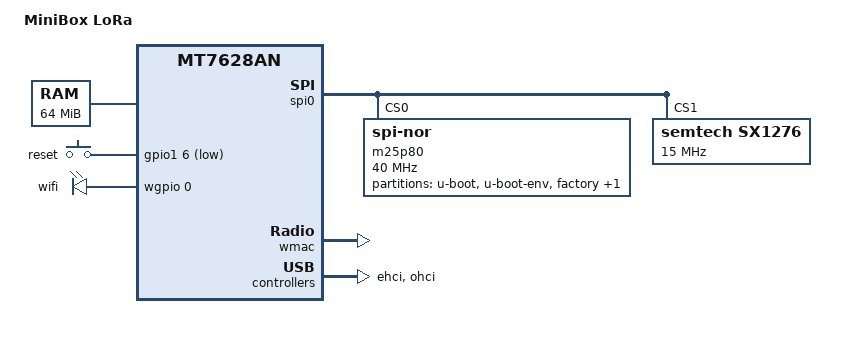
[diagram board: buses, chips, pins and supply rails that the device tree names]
/dts-v1/;

#include "mt7628an.dtsi"

#include <dt-bindings/gpio/gpio.h>
#include <dt-bindings/input/input.h>

/ {
        compatible = "gainstrong,minibox-lora", "mediatek,mt7628an-soc";
        model = "MiniBox LoRa";

        chosen {
                bootargs = "console=ttyS0,57600";
        };

        memory@0 {
                /* DDR size is 64MB */
                device_type = "memory";
                reg = <0x0 0x4000000>;
        };

        gpio-keys-polled {
                compatible = "gpio-keys-polled";
                #address-cells = <1>;
                #size-cells = <0>;
                poll-interval = <20>;

                reset {
                        /* RESET is GPIO38 */
                        label = "reset";
                        gpios = <&gpio1 6 GPIO_ACTIVE_LOW>;
                        linux,code = <KEY_RESTART>;
                };
        };

        gpio-leds {
                compatible = "gpio-leds";

                wifi {
                        /* WiFi led is GPIO44, defined in wled_an group */
                        label = "wifi";
                        gpios = <&wgpio 0 GPIO_ACTIVE_HIGH>;
                        default-state = "on";
                };
        };

        wgpio: gpio-wifi {
                compatible = "mediatek,gpio-wifi";
                #address-cells = <1>;
                #size-cells = <0>;
                gpio-controller;
                #gpio-cells = <2>;
        };
};

&pinctrl {
        state_default: pinctrl0 {
                gpio {
                        ralink,group = "gpio";      /* GPIO11 */
                        ralink,function = "gpio";
                };

                perst {
                        ralink,group = "perst";     /* GPIO36 */
                        ralink,function = "gpio";
                };

                refclk {
                        ralink,group = "refclk";    /* GPIO37 */
                        ralink,function = "gpio";
                };

                i2s {
                        ralink,group = "i2s";       /* GPIO0 - GPIO3 */
                        ralink,function = "gpio";
                };

                spis {
                        ralink,group = "spis";      /* GPIO14 - GPIO17 */
                        ralink,function = "gpio";
                };

                wled_kn {
                        ralink,group = "wled_kn";   /* GPIO35 */
                        ralink,function = "gpio";
                };

                wled_an {
                        ralink,group = "wled_an";   /* GPIO44 */
                        ralink,function = "wled_an";
                };

                wdt {
                        ralink,group = "wdt";       /* GPIO38 */
                        ralink,function = "gpio";
                };

                pwm0 {
                        ralink,group = "pwm0";      /* GPIO18 */
                        ralink,function = "gpio";
                };

                pwm1 {
                        ralink,group = "pwm1";      /* GPIO19 */
                        ralink,function = "gpio";
                };

                i2c {
                        ralink,group = "i2c";       /* GPIO4 - GPIO5 */
                        ralink,function = "gpio";
                };

                sdxc {
                        ralink,group = "sdmode";    /* GPIO22 - GPIO29 */
                        ralink,function = "gpio";
                };

                p4led_an {
                        ralink,group = "p4led_an";  /* GPIO39 */
                        ralink,function = "gpio";
                };

                p3led_an {
                        ralink,group = "p3led_an";  /* GPIO40 */
                        ralink,function = "gpio";
                };

                p2led_an {
                        ralink,group = "p2led_an";  /* GPIO41 */
                        ralink,function = "gpio";
                };
        };
};

&spi0 {
        compatible = "ralink,mt76x8-spi";

        pinctrl-names = "default";
        pinctrl-0 = <&spi_pins>, <&spi_cs1_pins>;
        status = "okay";

        m25p80@0 {
                /* ROM size is 16MB */
                #address-cells = <1>;
                #size-cells = <1>;
                compatible = "jedec,spi-nor";
                reg = <0>;
                spi-max-frequency = <40000000>;
                m25p,chunked-io = <31>;

                partition@0 {
                        label = "u-boot";
                        reg = <0x0 0x30000>;
                        read-only;
                };

                partition@30000 {
                        label = "u-boot-env";
                        reg = <0x30000 0x10000>;
                };

                factory: partition@40000 {
                        label = "factory";
                        reg = <0x40000 0x10000>;
                        read-only;
                };

                partition@50000 {
                        label = "firmware";
                        reg = <0x50000 0x0>;
                };
        };

        sx1276@1 {
                compatible = "semtech,sx1276";
                reg = <1>;
                spi-max-frequency = <15000000>;

                dio-list = <0 1 2 3 255 255>;   /* DIO pins from DIO0 to DIO5 are GPIO0 to GPIO3, 255 stands for unused */
                reset = <40>;                   /* RESET pins is GPIO40 */
                ant-sw-lf = <41>;               /* 433MHz antenna control is GPIO41 */
                ant-sw-hf = <39>;               /* 868MHz antenna control is GPIO39 */
        };
};

&ethernet {
        mtd-mac-address = <&factory 0x28>;
};

&wmac {
        status = "okay";    /* wirelss dirver from OpenWRT */
};

&ehci {
        status = "okay";
};

&ohci {
        status = "okay";
};
